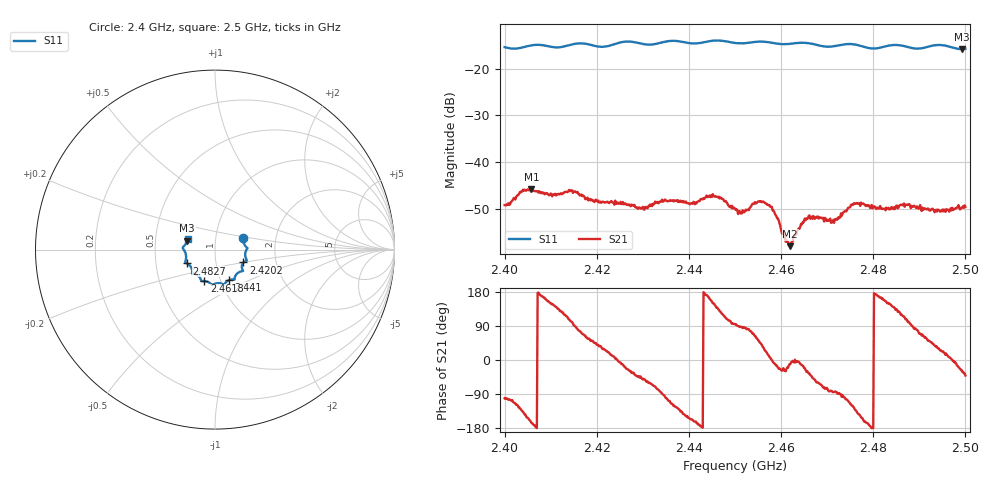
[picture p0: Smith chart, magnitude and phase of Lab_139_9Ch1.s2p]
# Hz S RI R 50
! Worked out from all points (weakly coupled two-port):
!   601 points, 2.4 GHz to 2.5 GHz, reference 50 ohm
!   highest |S21| = -45.85 dB at 2.4058 GHz (marker M1); lowest = -58.0 dB at 2.462 GHz (marker M2)
!   lowest |S11| = -15.8 dB at 2.4992 GHz (marker M3), VSWR 1.39, Z = 36.4 + j3.66 ohm
!   |S11| at or under -10 dB: start of sweep to end of sweep
!   S12 and S22 are empty: the file has one direction only
!   S11 on the Smith chart (normalised r, x): 2.4 GHz: 1.36, +0.18; 2.4202 GHz: 1.36, -0.20; 2.441 GHz: 1.10, -0.39; 2.4618 GHz: 0.84, -0.30; 2.4827 GHz: 0.72, -0.11; 2.5 GHz: 0.73, +0.09
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2.4e9  0.1587 0.0629  -0.00065 -0.0034  0 0  0 0
2.405833e9  0.1782 0.0111  -0.00495 -0.00122  0 0  0 0
2.416667e9  0.1773 -0.0612  0.00146 0.00424  0 0  0 0
2.420167e9  0.1585 -0.0714  0.00291 0.00242  0 0  0 0
2.429833e9  0.1381 -0.1236  0.00208 -0.00245  0 0  0 0
2.433333e9  0.1116 -0.1508  0.000738 -0.00354  0 0  0 0
2.441e9  0.0785 -0.1697  -0.00354 -0.00123  0 0  0 0
2.445667e9  0.0507 -0.1946  -0.00351 0.00253  0 0  0 0
2.45e9  0.0286 -0.1873  -0.000253 0.00315  0 0  0 0
2.451667e9  0.0114 -0.1871  0.000296 0.00303  0 0  0 0
2.4555e9  -0.0144 -0.1955  0.00265 0.00266  0 0  0 0
2.4575e9  -0.0225 -0.1909  0.00342 0.000454  0 0  0 0
2.461833e9  -0.0592 -0.1755  0.00129 -0.000253  0 0  0 0
2.462e9  -0.0603 -0.1754  0.00123 -0.000238  0 0  0 0
2.464667e9  -0.0758 -0.1747  0.00218 -0.000589  0 0  0 0
2.466667e9  -0.0789 -0.1682  0.00189 -0.00178  0 0  0 0
2.471333e9  -0.1075 -0.1374  0.00021 -0.0024  0 0  0 0
2.476333e9  -0.1275 -0.1287  -0.00256 -0.00255  0 0  0 0
2.482667e9  -0.1562 -0.077  -0.00275 0.00129  0 0  0 0
2.483333e9  -0.1605 -0.0751  -0.00281 0.00159  0 0  0 0
2.499167e9  -0.1549 0.0489  0.00287 -0.00143  0 0  0 0
2.5e9  -0.1523 0.0609  0.0025 -0.00216  0 0  0 0
